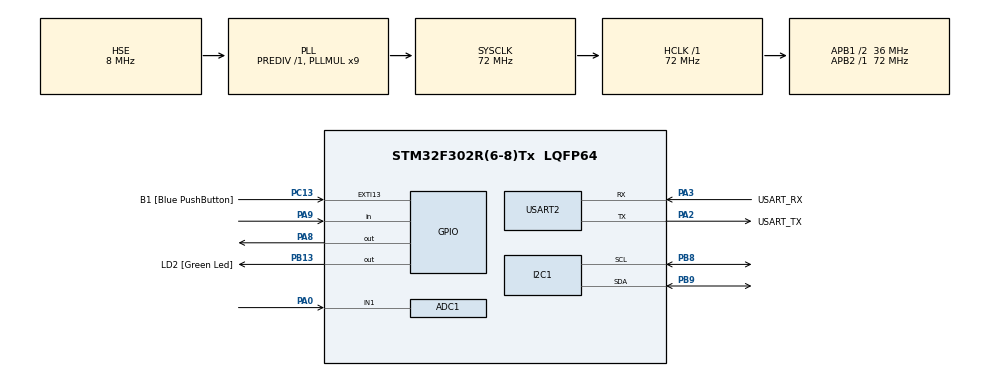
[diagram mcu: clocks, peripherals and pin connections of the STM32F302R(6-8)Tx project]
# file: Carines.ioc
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ADC1.Channel-0\#ChannelRegularConversion=ADC_CHANNEL_1
ADC1.NbrOfConversionFlag=1
ADC1.Offset-0\#ChannelRegularConversion=0
ADC1.OffsetNumber-0\#ChannelRegularConversion=ADC_OFFSET_NONE
ADC1.Rank-0\#ChannelRegularConversion=1
ADC1.SamplingTime-0\#ChannelRegularConversion=ADC_SAMPLETIME_601CYCLES_5
ADC1.SamplingTimeOPAMP-0\#ChannelRegularConversion=ADC_SAMPLETIME_61CYCLES_5
ADC1.SubFamily=STM32F302x8
ADC1.master=1
Mcu.Family=STM32F3
Mcu.Name=STM32F302R(6-8)Tx
Mcu.Package=LQFP64
NVIC.PriorityGroup=NVIC_PRIORITYGROUP_0
NVIC.TIM2_IRQn=true\:0\:0\:false\:false\:true\:true\:true\:true
PA0.Mode=IN1-Single-Ended
PA0.Signal=ADC1_IN1
PA13.GPIO_Label=TMS
PA13.Mode=Serial_Wire
PA13.Signal=SYS_JTMS-SWDIO
PA14.GPIO_Label=TCK
PA14.Mode=Serial_Wire
PA14.Signal=SYS_JTCK-SWCLK
PA2.GPIO_Label=USART_TX
PA2.GPIO_Mode=GPIO_MODE_AF_PP
PA2.GPIO_PuPd=GPIO_NOPULL
PA2.GPIO_Speed=GPIO_SPEED_FREQ_LOW
PA2.Mode=Asynchronous
PA2.Signal=USART2_TX
PA3.GPIO_Label=USART_RX
PA3.GPIO_Mode=GPIO_MODE_AF_PP
PA3.GPIO_PuPd=GPIO_NOPULL
PA3.GPIO_Speed=GPIO_SPEED_FREQ_LOW
PA3.Mode=Asynchronous
PA3.Signal=USART2_RX
PA8.Signal=GPIO_Output
PA9.Signal=GPIO_Input
PB13.GPIO_Label=LD2 [Green Led]
PB13.Signal=GPIO_Output
PB3.GPIO_Label=SWO
PB3.Mode=Trace_Asynchronous_SW
PB3.Signal=SYS_JTDO-TRACESWO
PB8.Mode=I2C
PB8.Signal=I2C1_SCL
PB9.Mode=I2C
PB9.Signal=I2C1_SDA
PC13.GPIO_Label=B1 [Blue PushButton]
PC13.GPIO_ModeDefaultEXTI=GPIO_MODE_IT_FALLING
PC13.Signal=GPXTI13
PC14\ -\ OSC32_IN.Signal=RCC_OSC32_IN
PC15\ -\ OSC32_OUT.Signal=RCC_OSC32_OUT
PF0-OSC_IN.Mode=HSE-External-Oscillator
PF0-OSC_IN.Signal=RCC_OSC_IN
PF1-OSC_OUT.Mode=HSE-External-Oscillator
PF1-OSC_OUT.Signal=RCC_OSC_OUT
ProjectManager.HeapSize=0x200
ProjectManager.StackSize=0x400
ProjectManager.TargetToolchain=STM32CubeIDE
RCC.AHBFreq_Value=72000000
RCC.APB1CLKDivider=RCC_HCLK_DIV2
RCC.APB1Freq_Value=36000000
RCC.APB1TimFreq_Value=72000000
RCC.APB2Freq_Value=72000000
RCC.APB2TimFreq_Value=72000000
RCC.CortexFreq_Value=72000000
RCC.HCLKFreq_Value=72000000
RCC.HSE_VALUE=8000000
RCC.HSI_VALUE=8000000
RCC.PLLM=8
RCC.PLLMUL=RCC_PLL_MUL9
RCC.PLLN=336
RCC.PLLP=RCC_PLLP_DIV4
RCC.PLLQ=7
RCC.PLLSourceVirtual=RCC_PLLSOURCE_HSE
RCC.SYSCLKFreq_VALUE=72000000
RCC.SYSCLKSourceVirtual=RCC_SYSCLKSOURCE_PLLCLK
RCC.USBFreq_Value=72000000
TIM15.Prescaler=71
TIM2.Period=10000-1
TIM2.Prescaler=72-1
USART2.VirtualMode-Asynchronous=VM_ASYNC
VP_TIM15_VS_ClockSourceINT.Mode=Internal
VP_TIM2_VS_ClockSourceINT.Mode=Internal
board=NUCLEO-F302R8

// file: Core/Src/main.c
/* USER CODE BEGIN Header */
/**
  ******************************************************************************
  * @file           : main.c
  * @brief          : Main program body
  ******************************************************************************
  * @attention
  *
  * Copyright (c) 2024 STMicroelectronics.
  * All rights reserved.
  *
  * This software is licensed under terms that can be found in the LICENSE file
  * in the root directory of this software component.
  * If no LICENSE file comes with this software, it is provided AS-IS.
  *
  ******************************************************************************
  */
/*
 *  Practica = multitareas
 *  Nombre =  Carines Díaz Zabala
 *  Matricula = 2021-0068
 *  Fecha =  28/03/2024
 *
 *
 *
 *
 *
 *
 *
 */
/* USER CODE END Header */
#include "main.h"

/* USER CODE BEGIN Includes */
#include"i2c-lcd.h"
#include"matriztarea1.h"
#include"ULTRASONICO.h"
/* USER CODE END Includes */

/* USER CODE BEGIN PD */
#define Timer 	    10 //Tiempo de la interrupcion
#define Time_LCD    500
#define Time_keypad 250
#define Time_ADC    100
#define Time_matriz 1050
#define Time_sonic  2000
/* USER CODE END PD */

ADC_HandleTypeDef hadc1;

I2C_HandleTypeDef hi2c1;

TIM_HandleTypeDef htim2;
TIM_HandleTypeDef htim15;

UART_HandleTypeDef huart2;

/* USER CODE BEGIN PV */
struct FLAGS
{
	unsigned int LCD2:1;
	unsigned int KEYPAD:1;
	unsigned int ADC:1;
	unsigned int MATRIZ:1;
	unsigned int SONIC:1;
}FLAG;

/* USER CODE END PV */

void SystemClock_Config(void);
static void MX_GPIO_Init(void);
static void MX_USART2_UART_Init(void);
static void MX_ADC1_Init(void);
static void MX_I2C1_Init(void);
static void MX_TIM2_Init(void);
static void MX_TIM15_Init(void);

/* USER CODE BEGIN 0 */
uint32_t ADC_VALUES;

void Medir_ADC()
{

	HAL_ADC_Start(&hadc1); // inicio mi adc
	HAL_ADC_PollForConversion(&hadc1, 100);

	ADC_VALUES = HAL_ADC_GetValue(&hadc1); // obtengo el valor de mi adc
	HAL_ADC_Stop(&hadc1); // detengo la lectura
}
void HAL_TIM_PeriodElapsedCallback(TIM_HandleTypeDef *htim)
{
	static unsigned int Count_LCD=0,Count_KEY=0,Count_ADC=0,Count_MATRIZ=0,Count_SONIC=0;

	if(htim->Instance==htim2.Instance)
	{

	//LDC
	if(Count_LCD<(Time_LCD/Timer))//Calculo para designar el tiempo(Tiempo en ms entre Tiempo de la interrupcion en ms)
	{
		Count_LCD++;
	}
	else
	{
		Count_LCD=0;
		FLAG.LCD2=1;
	}

	//KEYPAD
	if(Count_KEY<(Time_keypad/Timer))//Calculo para designar el tiempo(Tiempo en ms entre Tiempo de la interrupcion en ms)
		{
			Count_KEY++;
		}
		else
		{
			Count_KEY=0;
			FLAG.KEYPAD=1;
		}

	//ADC
	if(Count_ADC<(Time_ADC/Timer))
	{
		Count_ADC++;
	}
	else
	{
		Count_ADC=0;
		FLAG.ADC=1;
	}

	//MATRIZ
	if(Count_MATRIZ<(Time_matriz/Timer))
	{
		Count_MATRIZ++;
	}
	else
	{
		Count_MATRIZ=0;
		FLAG.MATRIZ=1;
	}

	//ULTRASONICO
	if(Count_SONIC<(Time_sonic/Timer))
	{
		Count_SONIC++;
	}
	else
	{
		Count_SONIC=0;
		FLAG.SONIC=1;
	}

	}

}

void task_ultra(){
	uint16_t Distance =  ultrasonic_measure_distance();
	lcd_clear();
		  		  	        lcd_put_cur(1, 6);
		  		  	        lcd_send_data((Distance/100) + 48);   // 100th pos
		  		  	        lcd_send_data(((Distance/10)%10) +48);  // 10th pos
		  		  	        lcd_send_data((Distance%10)+48);  // 1st pos
		  		  	        lcd_send_string(" CM");
}

void LIMPIAR_MATRIZ(){
	max_clear();
}

/* USER CODE END 0 */

int main(void)
{

  /* MCU Configuration--------------------------------------------------------*/

  /* Reset of all peripherals, Initializes the Flash interface and the Systick. */
  HAL_Init();

  /* Configure the system clock */
  SystemClock_Config();

  /* Initialize all configured peripherals */
  MX_GPIO_Init();
  MX_USART2_UART_Init();
  MX_ADC1_Init();
  MX_I2C1_Init();
  MX_TIM2_Init();
  MX_TIM15_Init();
  /* USER CODE BEGIN 2 */
  max_init(0x03);
  write_char('j', 1);
    lcd_init();
    HAL_TIM_Base_Start_IT(&htim2);
   ultrasonic_init();
  /* USER CODE END 2 */

  /* Infinite loop */
  /* USER CODE BEGIN WHILE */
  while (1)
  {

	  	  //ADC
	  	  if(FLAG.ADC)
	  	  		  {
	  	  			  FLAG.ADC=0;
	  	  			  Medir_ADC();
	  	  		  }
	       // LCD
	  	  if(FLAG.LCD2)
	  	  	{
	  		  lcd_clear();
	  		  lcd_enviar("ADC:", 0, 0);
	  	      lcd_enviar_int(ADC_VALUES,0,4);

	  	  	  FLAG.LCD2=0;
	  	  	}
	  	  //MAX
	  	  if(FLAG.MATRIZ)
	  	  	{

	  	      write_char('V', 1);
	  	      max_clear();

	  	  	  FLAG.MATRIZ=0;
	  	  	}
	       //ultrasonico
	  	  if(FLAG.SONIC)
	  	  	  	{

                  task_ultra();
	  	  	  	  FLAG.SONIC=0;
	  	  	  	}
    /* USER CODE END WHILE */

  }
}

void SystemClock_Config(void)
{
  RCC_OscInitTypeDef RCC_OscInitStruct = {0};
  RCC_ClkInitTypeDef RCC_ClkInitStruct = {0};
  RCC_PeriphCLKInitTypeDef PeriphClkInit = {0};

  /** Initializes the RCC Oscillators according to the specified parameters
  * in the RCC_OscInitTypeDef structure.
  */
  RCC_OscInitStruct.OscillatorType = RCC_OSCILLATORTYPE_HSI|RCC_OSCILLATORTYPE_HSE;
  RCC_OscInitStruct.HSEState = RCC_HSE_ON;
  RCC_OscInitStruct.HSEPredivValue = RCC_HSE_PREDIV_DIV1;
  RCC_OscInitStruct.HSIState = RCC_HSI_ON;
  RCC_OscInitStruct.HSICalibrationValue = RCC_HSICALIBRATION_DEFAULT;
  RCC_OscInitStruct.PLL.PLLState = RCC_PLL_ON;
  RCC_OscInitStruct.PLL.PLLSource = RCC_PLLSOURCE_HSE;
  RCC_OscInitStruct.PLL.PLLMUL = RCC_PLL_MUL9;
  if (HAL_RCC_OscConfig(&RCC_OscInitStruct) != HAL_OK)
  {
    Error_Handler();
  }

  /** Initializes the CPU, AHB and APB buses clocks
  */
  RCC_ClkInitStruct.ClockType = RCC_CLOCKTYPE_HCLK|RCC_CLOCKTYPE_SYSCLK
                              |RCC_CLOCKTYPE_PCLK1|RCC_CLOCKTYPE_PCLK2;
  RCC_ClkInitStruct.SYSCLKSource = RCC_SYSCLKSOURCE_PLLCLK;
  RCC_ClkInitStruct.AHBCLKDivider = RCC_SYSCLK_DIV1;
  RCC_ClkInitStruct.APB1CLKDivider = RCC_HCLK_DIV2;
  RCC_ClkInitStruct.APB2CLKDivider = RCC_HCLK_DIV1;

  if (HAL_RCC_ClockConfig(&RCC_ClkInitStruct, FLASH_LATENCY_2) != HAL_OK)
  {
    Error_Handler();
  }
  PeriphClkInit.PeriphClockSelection = RCC_PERIPHCLK_I2C1|RCC_PERIPHCLK_TIM15
                              |RCC_PERIPHCLK_ADC1;
  PeriphClkInit.I2c1ClockSelection = RCC_I2C1CLKSOURCE_HSI;
  PeriphClkInit.Tim15ClockSelection = RCC_TIM15CLK_HCLK;
  PeriphClkInit.Adc1ClockSelection = RCC_ADC1PLLCLK_DIV1;

  if (HAL_RCCEx_PeriphCLKConfig(&PeriphClkInit) != HAL_OK)
  {
    Error_Handler();
  }
}

static void MX_ADC1_Init(void)
{

  ADC_ChannelConfTypeDef sConfig = {0};

  /** Common config
  */
  hadc1.Instance = ADC1;
  hadc1.Init.ClockPrescaler = ADC_CLOCK_ASYNC_DIV1;
  hadc1.Init.Resolution = ADC_RESOLUTION_12B;
  hadc1.Init.ScanConvMode = ADC_SCAN_DISABLE;
  hadc1.Init.ContinuousConvMode = DISABLE;
  hadc1.Init.DiscontinuousConvMode = DISABLE;
  hadc1.Init.ExternalTrigConvEdge = ADC_EXTERNALTRIGCONVEDGE_NONE;
  hadc1.Init.ExternalTrigConv = ADC_SOFTWARE_START;
  hadc1.Init.DataAlign = ADC_DATAALIGN_RIGHT;
  hadc1.Init.NbrOfConversion = 1;
  hadc1.Init.DMAContinuousRequests = DISABLE;
  hadc1.Init.EOCSelection = ADC_EOC_SINGLE_CONV;
  hadc1.Init.LowPowerAutoWait = DISABLE;
  hadc1.Init.Overrun = ADC_OVR_DATA_OVERWRITTEN;
  if (HAL_ADC_Init(&hadc1) != HAL_OK)
  {
    Error_Handler();
  }

  /** Configure Regular Channel
  */
  sConfig.Channel = ADC_CHANNEL_1;
  sConfig.Rank = ADC_REGULAR_RANK_1;
  sConfig.SingleDiff = ADC_SINGLE_ENDED;
  sConfig.SamplingTime = ADC_SAMPLETIME_601CYCLES_5;
  sConfig.OffsetNumber = ADC_OFFSET_NONE;
  sConfig.Offset = 0;
  if (HAL_ADC_ConfigChannel(&hadc1, &sConfig) != HAL_OK)
  {
    Error_Handler();
  }

}

static void MX_I2C1_Init(void)
{

  hi2c1.Instance = I2C1;
  hi2c1.Init.Timing = 0x2000090E;
  hi2c1.Init.OwnAddress1 = 0;
  hi2c1.Init.AddressingMode = I2C_ADDRESSINGMODE_7BIT;
  hi2c1.Init.DualAddressMode = I2C_DUALADDRESS_DISABLE;
  hi2c1.Init.OwnAddress2 = 0;
  hi2c1.Init.OwnAddress2Masks = I2C_OA2_NOMASK;
  hi2c1.Init.GeneralCallMode = I2C_GENERALCALL_DISABLE;
  hi2c1.Init.NoStretchMode = I2C_NOSTRETCH_DISABLE;
  if (HAL_I2C_Init(&hi2c1) != HAL_OK)
  {
    Error_Handler();
  }

  /** Configure Analogue filter
  */
  if (HAL_I2CEx_ConfigAnalogFilter(&hi2c1, I2C_ANALOGFILTER_ENABLE) != HAL_OK)
  {
    Error_Handler();
  }

  /** Configure Digital filter
  */
  if (HAL_I2CEx_ConfigDigitalFilter(&hi2c1, 0) != HAL_OK)
  {
    Error_Handler();
  }

}

static void MX_TIM2_Init(void)
{

  TIM_ClockConfigTypeDef sClockSourceConfig = {0};
  TIM_MasterConfigTypeDef sMasterConfig = {0};

  htim2.Instance = TIM2;
  htim2.Init.Prescaler = 72-1;
  htim2.Init.CounterMode = TIM_COUNTERMODE_UP;
  htim2.Init.Period = 10000-1;
  htim2.Init.ClockDivision = TIM_CLOCKDIVISION_DIV1;
  htim2.Init.AutoReloadPreload = TIM_AUTORELOAD_PRELOAD_DISABLE;
  if (HAL_TIM_Base_Init(&htim2) != HAL_OK)
  {
    Error_Handler();
  }
  sClockSourceConfig.ClockSource = TIM_CLOCKSOURCE_INTERNAL;
  if (HAL_TIM_ConfigClockSource(&htim2, &sClockSourceConfig) != HAL_OK)
  {
    Error_Handler();
  }
  sMasterConfig.MasterOutputTrigger = TIM_TRGO_RESET;
  sMasterConfig.MasterSlaveMode = TIM_MASTERSLAVEMODE_DISABLE;
  if (HAL_TIMEx_MasterConfigSynchronization(&htim2, &sMasterConfig) != HAL_OK)
  {
    Error_Handler();
  }

}

static void MX_TIM15_Init(void)
{

  TIM_ClockConfigTypeDef sClockSourceConfig = {0};
  TIM_MasterConfigTypeDef sMasterConfig = {0};

  htim15.Instance = TIM15;
  htim15.Init.Prescaler = 71;
  htim15.Init.CounterMode = TIM_COUNTERMODE_UP;
  htim15.Init.Period = 65535;
  htim15.Init.ClockDivision = TIM_CLOCKDIVISION_DIV1;
  htim15.Init.RepetitionCounter = 0;
  htim15.Init.AutoReloadPreload = TIM_AUTORELOAD_PRELOAD_DISABLE;
  if (HAL_TIM_Base_Init(&htim15) != HAL_OK)
  {
    Error_Handler();
  }
  sClockSourceConfig.ClockSource = TIM_CLOCKSOURCE_INTERNAL;
  if (HAL_TIM_ConfigClockSource(&htim15, &sClockSourceConfig) != HAL_OK)
  {
    Error_Handler();
  }
  sMasterConfig.MasterOutputTrigger = TIM_TRGO_RESET;
  sMasterConfig.MasterSlaveMode = TIM_MASTERSLAVEMODE_DISABLE;
  if (HAL_TIMEx_MasterConfigSynchronization(&htim15, &sMasterConfig) != HAL_OK)
  {
    Error_Handler();
  }

}

static void MX_USART2_UART_Init(void)
{

  huart2.Instance = USART2;
  huart2.Init.BaudRate = 38400;
  huart2.Init.WordLength = UART_WORDLENGTH_8B;
  huart2.Init.StopBits = UART_STOPBITS_1;
  huart2.Init.Parity = UART_PARITY_NONE;
  huart2.Init.Mode = UART_MODE_TX_RX;
  huart2.Init.HwFlowCtl = UART_HWCONTROL_NONE;
  huart2.Init.OverSampling = UART_OVERSAMPLING_16;
  huart2.Init.OneBitSampling = UART_ONE_BIT_SAMPLE_DISABLE;
  huart2.AdvancedInit.AdvFeatureInit = UART_ADVFEATURE_NO_INIT;
  if (HAL_UART_Init(&huart2) != HAL_OK)
  {
    Error_Handler();
  }

}

static void MX_GPIO_Init(void)
{
  GPIO_InitTypeDef GPIO_InitStruct = {0};

  /* GPIO Ports Clock Enable */
  __HAL_RCC_GPIOC_CLK_ENABLE();
  __HAL_RCC_GPIOF_CLK_ENABLE();
  __HAL_RCC_GPIOA_CLK_ENABLE();
  __HAL_RCC_GPIOB_CLK_ENABLE();

  /*Configure GPIO pin Output Level */
  HAL_GPIO_WritePin(LD2_GPIO_Port, LD2_Pin, GPIO_PIN_RESET);

  /*Configure GPIO pin Output Level */
  HAL_GPIO_WritePin(GPIOA, GPIO_PIN_8, GPIO_PIN_RESET);

  /*Configure GPIO pin : B1_Pin */
  GPIO_InitStruct.Pin = B1_Pin;
  GPIO_InitStruct.Mode = GPIO_MODE_IT_FALLING;
  GPIO_InitStruct.Pull = GPIO_NOPULL;
  HAL_GPIO_Init(B1_GPIO_Port, &GPIO_InitStruct);

  /*Configure GPIO pin : LD2_Pin */
  GPIO_InitStruct.Pin = LD2_Pin;
  GPIO_InitStruct.Mode = GPIO_MODE_OUTPUT_PP;
  GPIO_InitStruct.Pull = GPIO_NOPULL;
  GPIO_InitStruct.Speed = GPIO_SPEED_FREQ_LOW;
  HAL_GPIO_Init(LD2_GPIO_Port, &GPIO_InitStruct);

  /*Configure GPIO pin : PA8 */
  GPIO_InitStruct.Pin = GPIO_PIN_8;
  GPIO_InitStruct.Mode = GPIO_MODE_OUTPUT_PP;
  GPIO_InitStruct.Pull = GPIO_NOPULL;
  GPIO_InitStruct.Speed = GPIO_SPEED_FREQ_LOW;
  HAL_GPIO_Init(GPIOA, &GPIO_InitStruct);

  /*Configure GPIO pin : PA9 */
  GPIO_InitStruct.Pin = GPIO_PIN_9;
  GPIO_InitStruct.Mode = GPIO_MODE_INPUT;
  GPIO_InitStruct.Pull = GPIO_NOPULL;
  HAL_GPIO_Init(GPIOA, &GPIO_InitStruct);

}

void Error_Handler(void)
{
  __disable_irq();
  while (1)
  {
  }
}
